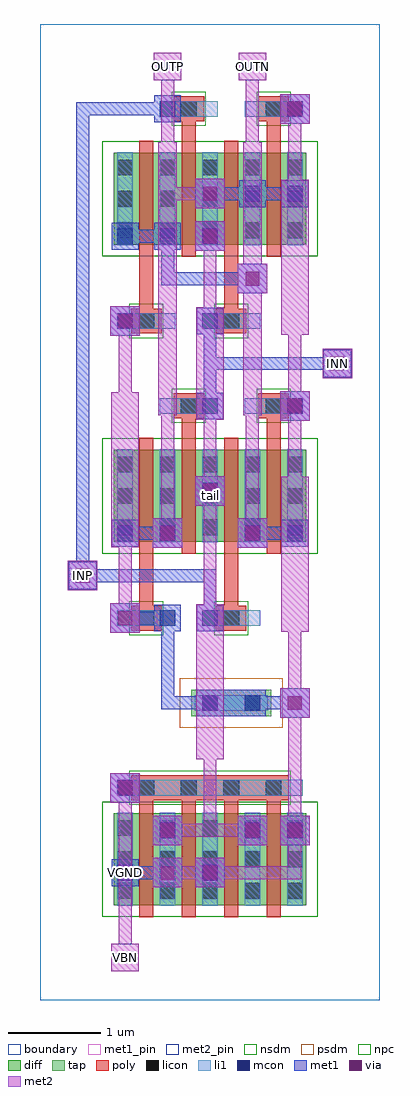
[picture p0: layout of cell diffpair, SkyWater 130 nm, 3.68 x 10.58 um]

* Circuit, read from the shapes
.subckt diffpair INN INP OUTN OUTP VBN VGND tail
XM1 tail VBN VGND VGND sky130_fd_pr__nfet_01v8 w=1 l=0.15 m=4
XM2 OUTP VGND OUTP VGND sky130_fd_pr__nfet_01v8 w=1 l=0.15 m=2
XM3 OUTN VGND OUTN VGND sky130_fd_pr__nfet_01v8 w=1 l=0.15 m=2
XM4 tail INN OUTP VGND sky130_fd_pr__nfet_01v8 w=1 l=0.15 m=2
XM5 tail INP OUTN VGND sky130_fd_pr__nfet_01v8 w=1 l=0.15 m=2
.ends

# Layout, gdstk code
import gdstk
lib = gdstk.Library(unit=1e-6, precision=1e-09)
def R(c, l, rs):  # rectangles x0, y0, x1, y1
    for r in rs: c.add(gdstk.rectangle(r[:2], r[2:], *l))
def A(c, l, x, y, w, h, nx, ny, dx, dy):  # array of equal rectangles
    R(c, l, [(x+i*dx, y+j*dy, x+i*dx+w, y+j*dy+h) for i in range(nx) for j in range(ny)])
diff = (65, 20)
tap = (65, 44)
poly = (66, 20)
licon = (66, 44)
li1 = (67, 20)
mcon = (67, 44)
met1_pin = (68, 16)
met1 = (68, 20)
via = (68, 44)
met2_pin = (69, 16)
met2 = (69, 20)
nsdm = (93, 44)
psdm = (94, 20)
npc = (95, 20)
boundary = (235, 4)

diffpair = lib.new_cell('diffpair')
R(diffpair, diff, [(0.795,1.025,2.885,2.025), (0.795,4.965,2.885,5.965), (0.795,8.185,2.885,9.185)])
R(diffpair, tap, [(1.635,3.075,2.505,3.365)])
A(diffpair, poly, 1.075, 0.895, 0.15, 1.405, 4, 1, 0.46, 0)
R(diffpair, poly, [(0.985,2.165,2.695,2.435), (0.985,4.005,1.315,4.275), (1.905,4.005,2.235,4.275), (1.075,4.14,1.225,6.095), (1.995,4.14,2.145,6.095), (1.535,4.835,1.685,6.44), (2.455,4.835,2.605,6.44), (1.445,6.305,1.775,6.575), (2.365,6.305,2.695,6.575), (0.985,7.225,1.315,7.495), (1.905,7.225,2.235,7.495), (1.075,7.36,1.225,9.315), (1.995,7.36,2.145,9.315), (1.535,8.055,1.685,9.66), (2.455,8.055,2.605,9.66), (1.445,9.525,1.775,9.795), (2.365,9.525,2.695,9.795)])
A(diffpair, licon, 0.835, 1.1, 0.17, 0.17, 5, 3, 0.46, 0.34)
A(diffpair, licon, 1.065, 2.215, 0.17, 0.17, 4, 1, 0.46, 0)
A(diffpair, licon, 0.835, 5.04, 0.17, 0.17, 5, 3, 0.46, 0.34)
A(diffpair, licon, 0.835, 8.26, 0.17, 0.17, 5, 3, 0.46, 0.34)
R(diffpair, licon, [(1.755,3.135,1.925,3.305), (2.215,3.135,2.385,3.305), (1.065,4.055,1.235,4.225), (1.985,4.055,2.155,4.225), (1.525,6.355,1.695,6.525), (2.445,6.355,2.615,6.525), (1.065,7.275,1.235,7.445), (1.985,7.275,2.155,7.445), (1.525,9.575,1.695,9.745), (2.445,9.575,2.615,9.745)])
A(diffpair, li1, 0.835, 1.02, 0.17, 1.01, 5, 2, 0.46, 3.94)
A(diffpair, li1, 0.835, 8.18, 0.17, 1.01, 5, 1, 0.46, 0)
R(diffpair, li1, [(0.835,2.215,2.845,2.385), (1.675,3.135,2.465,3.305), (0.835,4.055,1.465,4.225), (1.755,4.055,2.385,4.225), (1.295,6.355,1.925,6.525), (2.215,6.355,2.845,6.525), (0.835,7.275,1.465,7.445), (1.755,7.275,2.385,7.445), (1.295,9.575,1.925,9.745), (2.215,9.575,2.845,9.745)])
A(diffpair, mcon, 1.755, 5.435, 0.17, 0.17, 1, 3, 0, 0.92)
A(diffpair, mcon, 0.835, 8.195, 0.17, 0.17, 3, 1, 0.46, 0)
R(diffpair, mcon, [(0.835,1.295,1.005,1.465), (1.755,1.295,1.925,1.465), (1.295,1.755,1.465,1.925), (2.215,1.755,2.385,1.925), (2.675,1.755,2.845,1.925), (0.835,2.215,1.005,2.385), (1.755,3.135,1.925,3.305), (2.215,3.135,2.385,3.305), (1.295,4.055,1.465,4.225), (1.755,4.055,1.925,4.225), (0.835,4.975,1.005,5.145), (1.295,4.975,1.465,5.145), (2.215,4.975,2.385,5.145), (2.675,4.975,2.845,5.145), (2.675,6.355,2.845,6.525), (0.835,7.275,1.005,7.445), (2.215,8.655,2.385,8.825), (2.675,8.655,2.845,8.825), (1.295,9.575,1.465,9.745), (2.675,9.575,2.845,9.745)])
R(diffpair, met1_pin, [(0.775,1.235,1.065,1.525)])
A(diffpair, met1, 2.6, 3.06, 0.32, 0.32, 1, 3, 0, 3.22)
A(diffpair, met1, 1.695, 5.375, 0.29, 0.29, 1, 3, 0, 0.92)
A(diffpair, met1, 0.775, 8.135, 0.29, 0.29, 3, 1, 0.46, 0)
R(diffpair, met1, [(1.22,1.22,1.54,1.54), (1.68,1.22,2,1.54), (0.775,1.235,1.065,1.525), (1.695,1.235,1.985,1.525), (0.85,1.31,1.45,1.45), (1.22,1.68,1.54,2), (2.14,1.68,2.46,2), (2.6,1.68,2.92,2), (1.235,1.695,1.525,1.985), (2.155,1.695,2.445,1.985), (2.615,1.695,2.905,1.985), (0.76,2.14,1.08,2.46), (0.775,2.155,1.065,2.445), (1.695,3.075,2.445,3.365), (1.31,3.15,1.45,4.21), (1.31,3.15,1.91,3.29), (1.77,3.15,2.83,3.29), (1.77,3.15,1.91,3.29), (0.76,3.98,1.08,4.3), (1.235,3.995,1.525,4.285), (1.695,3.995,1.985,4.285), (0.85,4.07,1.45,4.21), (1.77,4.07,1.91,4.67), (0.3,4.44,0.62,4.76), (0.39,4.53,1.91,4.67), (0.39,4.53,0.53,9.73), (1.22,4.9,1.54,5.22), (2.14,4.9,2.46,5.22), (0.775,4.915,1.065,5.205), (1.235,4.915,1.525,5.205), (2.155,4.915,2.445,5.205), (2.615,4.915,2.905,5.205), (0.85,4.99,1.45,5.13), (2.23,4.99,2.83,5.13), (1.68,5.36,2,5.68), (2.615,6.295,2.905,6.585), (1.77,6.37,1.91,7.43), (3.06,6.74,3.38,7.06), (1.77,6.83,3.29,6.97), (0.76,7.2,1.08,7.52), (0.775,7.215,1.065,7.505), (2.14,7.66,2.46,7.98), (1.31,7.75,1.45,8.35), (1.31,7.75,2.37,7.89), (1.68,8.12,2,8.44), (0.85,8.21,1.45,8.35), (1.68,8.58,2,8.9), (2.155,8.595,2.445,8.885), (2.615,8.595,2.905,8.885), (1.77,8.67,2.37,8.81), (2.23,8.67,2.83,8.81), (1.235,9.515,1.525,9.805), (2.615,9.515,2.905,9.805), (0.39,9.59,1.45,9.73)])
A(diffpair, via, 2.685, 3.145, 0.15, 0.15, 1, 3, 0, 3.22)
R(diffpair, via, [(1.305,1.305,1.455,1.455), (1.765,1.305,1.915,1.455), (1.305,1.765,1.455,1.915), (2.225,1.765,2.375,1.915), (2.685,1.765,2.835,1.915), (0.845,2.225,0.995,2.375), (0.845,4.065,0.995,4.215), (0.385,4.525,0.535,4.675), (1.305,4.985,1.455,5.135), (2.225,4.985,2.375,5.135), (1.765,5.445,1.915,5.595), (3.145,6.825,3.295,6.975), (0.845,7.285,0.995,7.435), (2.225,7.745,2.375,7.895), (1.765,8.205,1.915,8.355), (1.765,8.665,1.915,8.815)])
R(diffpair, met2_pin, [(0.77,0.31,1.07,0.61), (0.31,4.45,0.61,4.75), (3.07,6.75,3.37,7.05), (1.23,9.97,1.53,10.27), (2.15,9.97,2.45,10.27)])
A(diffpair, met2, 2.6, 3.06, 0.32, 0.32, 1, 3, 0, 3.22)
R(diffpair, met2, [(0.77,0.31,1.07,0.61), (0.85,0.39,0.99,0.53), (0.85,0.39,0.99,2.37), (1.22,1.22,1.54,1.54), (1.68,1.22,2,1.54), (1.31,1.31,1.91,1.45), (1.77,1.31,2.83,1.45), (2.69,1.31,2.83,1.91), (1.22,1.68,1.54,2), (2.14,1.68,2.46,2), (2.6,1.68,2.92,2), (1.31,1.77,1.91,1.91), (1.77,1.77,1.91,2.83), (1.77,1.77,2.37,1.91), (2.69,1.77,2.83,3.29), (0.76,2.14,1.08,2.46), (1.69,2.61,1.99,4.29), (2.69,3.15,2.83,4.21), (0.76,3.98,1.08,4.3), (2.61,3.99,2.91,5.67), (0.85,4.07,0.99,5.13), (1.77,4.07,1.91,5.59), (0.3,4.44,0.62,4.76), (0.31,4.45,0.61,4.75), (0.39,4.53,0.53,4.67), (1.22,4.9,1.54,5.22), (2.14,4.9,2.46,5.22), (0.77,4.91,1.07,6.59), (1.31,4.99,1.45,6.51), (2.23,4.99,2.37,6.51), (1.68,5.36,2,5.68), (1.77,5.45,1.91,6.51), (2.69,5.45,2.83,6.51), (1.69,6.29,1.99,7.51), (1.28,6.34,1.48,9.3), (2.2,6.34,2.4,9.3), (0.85,6.37,0.99,7.43), (2.69,6.37,2.83,7.43), (3.06,6.74,3.38,7.06), (3.07,6.75,3.37,7.05), (3.15,6.83,3.29,6.97), (0.76,7.2,1.08,7.52), (2.61,7.21,2.91,8.89), (1.77,7.29,1.91,8.35), (2.14,7.66,2.46,7.98), (1.68,8.12,2,8.44), (1.68,8.58,2,8.9), (1.31,8.67,1.91,8.81), (2.69,8.67,2.83,9.73), (1.31,9.13,1.45,10.19), (2.23,9.13,2.37,10.19), (1.23,9.97,1.53,10.27), (2.15,9.97,2.45,10.27), (1.31,10.05,1.45,10.19), (2.23,10.05,2.37,10.19)])
R(diffpair, nsdm, [(0.67,0.9,3.01,2.15), (0.67,4.84,3.01,6.09), (0.67,8.06,3.01,9.31)])
R(diffpair, psdm, [(1.51,2.95,2.63,3.49)])
R(diffpair, npc, [(0.965,2.115,2.715,2.485), (0.965,3.955,1.335,4.325), (1.885,3.955,2.255,4.325), (1.425,6.255,1.795,6.625), (2.345,6.255,2.715,6.625), (0.965,7.175,1.335,7.545), (1.885,7.175,2.255,7.545), (1.425,9.475,1.795,9.845), (2.345,9.475,2.715,9.845)])
R(diffpair, boundary, [(0,0,3.68,10.58)])
diffpair.add(gdstk.Label('tail', (1.84,5.465), layer=67, texttype=5))
diffpair.add(gdstk.Label('VGND', (0.92,1.38), layer=68, texttype=5))
diffpair.add(gdstk.Label('INP', (0.46,4.6), layer=69, texttype=5))
diffpair.add(gdstk.Label('INN', (3.22,6.9), layer=69, texttype=5))
diffpair.add(gdstk.Label('VBN', (0.92,0.46), layer=69, texttype=5))
diffpair.add(gdstk.Label('OUTP', (1.38,10.12), layer=69, texttype=5))
diffpair.add(gdstk.Label('OUTN', (2.3,10.12), layer=69, texttype=5))
diffpair.add(gdstk.Label('VGND', (0.92,1.38), layer=68, texttype=16))
diffpair.add(gdstk.Label('INP', (0.46,4.6), layer=69, texttype=16))
diffpair.add(gdstk.Label('INN', (3.22,6.9), layer=69, texttype=16))
diffpair.add(gdstk.Label('VBN', (0.92,0.46), layer=69, texttype=16))
diffpair.add(gdstk.Label('OUTP', (1.38,10.12), layer=69, texttype=16))
diffpair.add(gdstk.Label('OUTN', (2.3,10.12), layer=69, texttype=16))

lib.write_gds('diffpair.gds')
